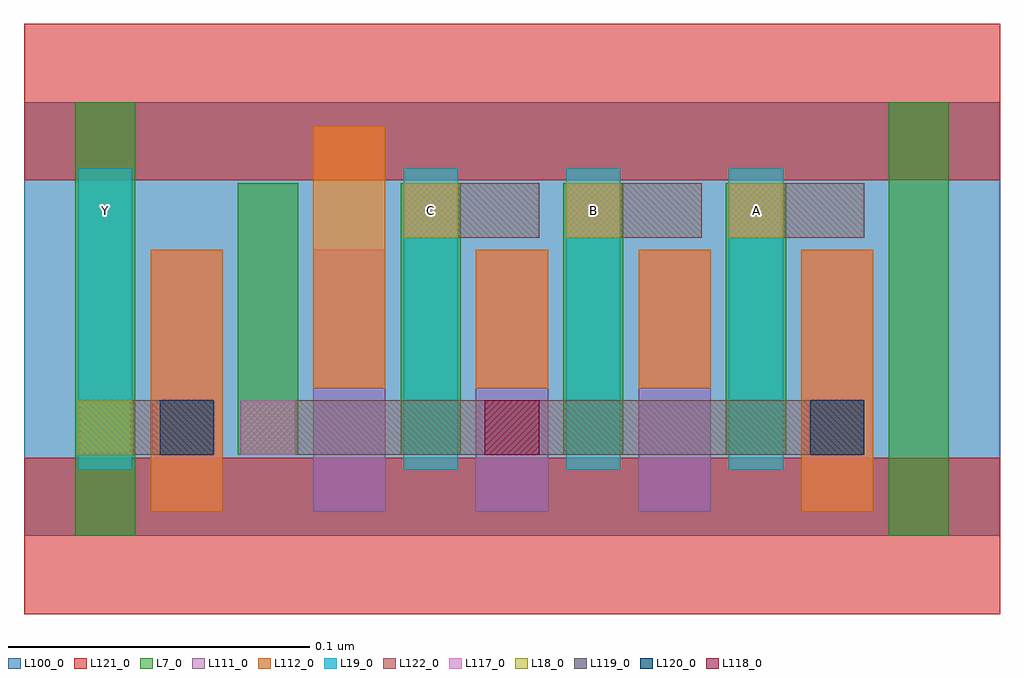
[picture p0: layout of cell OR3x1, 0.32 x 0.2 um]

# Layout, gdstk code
import gdstk
lib = gdstk.Library(unit=1e-6, precision=2.5e-10)
def R(c, l, rs):  # rectangles x0, y0, x1, y1
    for r in rs: c.add(gdstk.rectangle(r[:2], r[2:], *l))
def A(c, l, x, y, w, h, nx, ny, dx, dy):  # array of equal rectangles
    R(c, l, [(x+i*dx, y+j*dy, x+i*dx+w, y+j*dy+h) for i in range(nx) for j in range(ny)])
L7_0 = (7, 0)
L18_0 = (18, 0)
L19_0 = (19, 0)
L100_0 = (100, 0)
L111_0 = (111, 0)
L112_0 = (112, 0)
L117_0 = (117, 0)
L118_0 = (118, 0)
L119_0 = (119, 0)
L120_0 = (120, 0)
L121_0 = (121, 0)
L122_0 = (122, 0)

or3x1 = lib.new_cell('OR3x1')
A(or3x1, L7_0, 0.071, 0.027, 0.02, 0.09, 4, 1, 0.054, 0)
R(or3x1, L7_0, [(0.017,0,0.037,0.144), (0.287,0,0.307,0.144)])
A(or3x1, L18_0, 0.126, 0.099, 0.018, 0.018, 3, 1, 0.054, 0)
R(or3x1, L18_0, [(0.018,0.027,0.036,0.045)])
A(or3x1, L19_0, 0.126, 0.022, 0.018, 0.1, 3, 1, 0.054, 0)
R(or3x1, L19_0, [(0.018,0.022,0.036,0.122)])
R(or3x1, L100_0, [(0,0,0.324,0.144)])
A(or3x1, L111_0, 0.042, 0.008, 0.024, 0.087, 5, 1, 0.054, 0)
R(or3x1, L112_0, [(0.042,0.008,0.066,0.095), (0.258,0.008,0.282,0.095), (0.096,0.049,0.12,0.136), (0.15,0.049,0.174,0.095), (0.204,0.049,0.228,0.095)])
A(or3x1, L117_0, 0.126, 0.099, 0.018, 0.018, 3, 1, 0.054, 0)
R(or3x1, L117_0, [(0.072,0.027,0.09,0.045)])
R(or3x1, L118_0, [(0.153,0.027,0.171,0.045)])
R(or3x1, L119_0, [(0.045,0.027,0.063,0.045), (0.261,0.027,0.279,0.045)])
R(or3x1, L120_0, [(0.045,0.027,0.063,0.045), (0.261,0.027,0.279,0.045)])
R(or3x1, L121_0, [(0,-0.026,0.324,0.026), (0,0.118,0.324,0.17)])
A(or3x1, L122_0, 0.126, 0.099, 0.045, 0.018, 3, 1, 0.054, 0)
R(or3x1, L122_0, [(0.018,0.027,0.063,0.045), (0.072,0.027,0.279,0.045)])
or3x1.add(gdstk.Label('Y', (0.027,0.108), layer=19, texttype=251))
or3x1.add(gdstk.Label('C', (0.135,0.108), layer=19, texttype=251))
or3x1.add(gdstk.Label('B', (0.189,0.108), layer=19, texttype=251))
or3x1.add(gdstk.Label('A', (0.243,0.108), layer=19, texttype=251))

lib.write_gds('OR3x1.gds')
